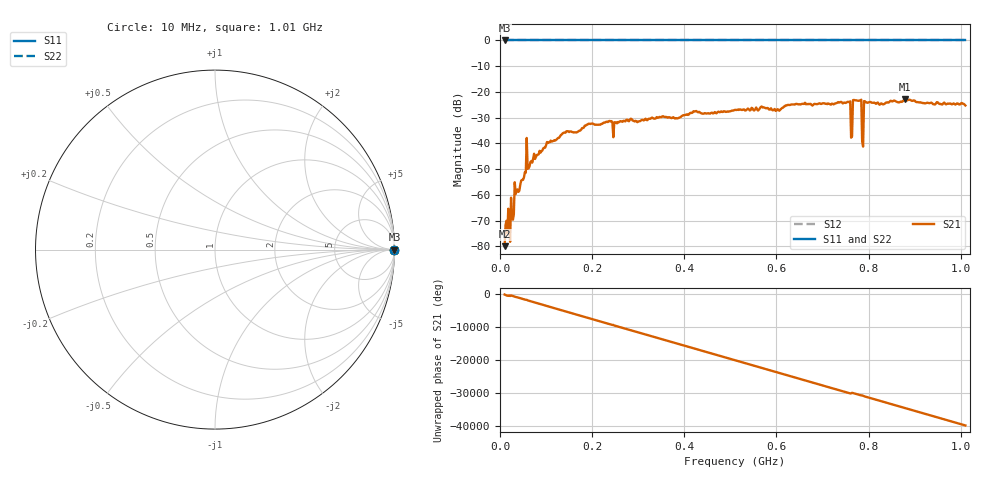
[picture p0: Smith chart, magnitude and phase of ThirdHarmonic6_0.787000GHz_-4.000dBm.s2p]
! 8/16/2025 2:15:20 AM
! C:\ANRITSUVNA\TEMP\TEMP.S2P
! CHANNEL.1
! TR.MEASUREMENT
! RAW.DATA
! RF.CORRECTION.OFF
! AVERAGING.OFF
! IF.BANDWIDTH: 5KHZ
! SWEEPTYPE:  FREQ.SWEEP(Linear)
! Reference Plane Port Info
! PORT:  PORT1  PORT2
! DISTANCE:  0  m  0  m
! TIME:  0  s  0  s
! PHASE.OFFSET:  0  deg.  0  deg.
! LOSS:  0  dB  0  dB
! REF.LOSS:  0  dB  0  dB
! REF.FREQ:  0  Hz  0  Hz
! Power Info
! POWER:  -20  dBm  -20  dBm
! EFF.POWER:  -20  dBm  -20  dBm
! SOURCE.ATTEN:  0  dB  0  dB
! TEST.ATTEN:  0  dB  0  dB
# GHZ S RI R 50.0
! FREQ.GHZ  S11RE  S11IM  S21RE  S21IM  S12RE  S12IM  S22RE  S22IM
!; PortSelection: Port_12
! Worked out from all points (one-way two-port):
!   501 points, 10 MHz to 1.01 GHz, reference 50 ohm
!   highest |S21| = -22.94 dB at 878 MHz (marker M1); lowest = -79.9 dB at 10 MHz (marker M2)
!   lowest |S11| = 0.0 dB at 10 MHz (marker M3)
!   |S11| at or under -10 dB: nowhere
!   |S22| runs from 0.0 to 0.0 dB; largest |S21 - S12| = 1.1
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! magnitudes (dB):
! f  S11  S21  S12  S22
! 10 MHz  0.0  -79.9  0.0  0.0
! 16 MHz  0.0  -74.8  0.0  0.0
! 26 MHz  0.0  -69.2  0.0  0.0
! 28 MHz  0.0  -69.7  0.0  0.0
! 36 MHz  0.0  -58.6  0.0  0.0
! 62 MHz  0.0  -49.6  0.0  0.0
! 140 MHz  0.0  -35.8  0.0  0.0
! 178 MHz  0.0  -34.1  0.0  0.0
! 344 MHz  0.0  -30.0  0.0  0.0
! 510 MHz  0.0  -26.9  0.0  0.0
! 678 MHz  0.0  -25.3  0.0  0.0
! 756 MHz  0.0  -23.8  0.0  0.0
! 760 MHz  0.0  -23.7  0.0  0.0
! 766 MHz  0.0  -23.2  0.0  0.0
! 770 MHz  0.0  -23.2  0.0  0.0
! 780 MHz  0.0  -23.3  0.0  0.0
! 784 MHz  0.0  -23.0  0.0  0.0
! 790 MHz  0.0  -23.6  0.0  0.0
! 794 MHz  0.0  -24.0  0.0  0.0
! 844 MHz  0.0  -24.1  0.0  0.0
! 878 MHz  0.0  -22.9  0.0  0.0
! 1.01 GHz  0.0  -25.3  0.0  0.0
